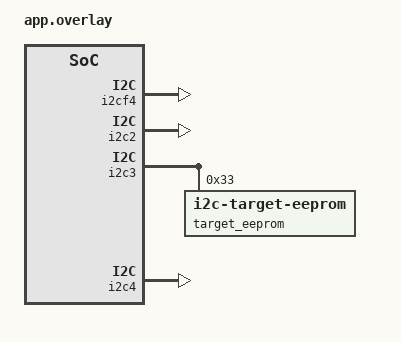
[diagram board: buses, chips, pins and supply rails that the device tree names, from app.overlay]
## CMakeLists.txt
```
# SPDX-License-Identifier: Apache-2.0

cmake_minimum_required(VERSION 3.20.0)

# ---------------------------------------------------------------------------
# pfr_tpm 模块注册（本工程私有，不得移入 common/）
#
# modules/lib/pfr_tpm 未登记进 zephyr/west.yml（实测 grep 计数 0），因此三个
# compatible（linkedsemi,i2c-filter / linkedsemi,spi-filter / linkedsemi,spid）
# 默认解析不到，DT_HAS_LINKEDSEMI_*_ENABLED 不成立 → 驱动不编入、DT 节点无 binding。
#
# 用 EXTRA_ZEPHYR_MODULES 就地注册（等价于 manifest 条目，零上游改动）：
# 模块自带 zephyr/module.yml 的 build.cmake / kconfig / settings.dts_root 全部生效，
# 含 dts binding 与 include 目录。必须在 find_package(Zephyr) 之前 set ——
# zephyr/cmake/modules/zephyr_module.cmake:39 的 zephyr_get() 在此刻读该变量。
#
# ⚠️ 只写在本工程。写进 common/common_sources.cmake 会给全部既有工程引入新的
# Kconfig 符号与 DT binding，可能影响之前已通过的测试（用户明令禁止）。
# ---------------------------------------------------------------------------
get_filename_component(PFR_TPM_WS "${CMAKE_CURRENT_SOURCE_DIR}/../../../.." ABSOLUTE)
if(EXISTS "${PFR_TPM_WS}/modules/lib/zephyr_pfr_tpm/zephyr/module.yml")
  set(EXTRA_ZEPHYR_MODULES "${PFR_TPM_WS}/modules/lib/zephyr_pfr_tpm")
elseif(EXISTS "${PFR_TPM_WS}/modules/lib/pfr_tpm/zephyr/module.yml")
  set(EXTRA_ZEPHYR_MODULES "${PFR_TPM_WS}/modules/lib/pfr_tpm")
else()
  message(FATAL_ERROR "pfr_tpm module not found under ${PFR_TPM_WS}/modules/lib")
endif()

find_package(Zephyr REQUIRED HINTS $ENV{ZEPHYR_BASE})
project(cpu1_i2cf_test)

# 项目特定源文件
target_sources(app PRIVATE
    src/main.c
    src/i2cf_test.c)

# 项目特定 include 目录
target_include_directories(app PRIVATE
    ${CMAKE_CURRENT_SOURCE_DIR}/../tests/include)

# 包含公共源文件和配置（test_results.c, ztest_glue.c, gpio_toggle.c）
include(${CMAKE_CURRENT_SOURCE_DIR}/../../../common/common_sources.cmake)

# 枚举矩阵回归用例（case_enum_matrix）：仅 CONFIG_I2CF_ENUM_MATRIX=y 时编入。
# 默认 n ⇒ 不置位时本文件不存在于构建中，case_default 逐字节不变。
if(CONFIG_I2CF_ENUM_MATRIX)
    target_sources(app PRIVATE src/i2cf_enum.c)
endif()

# 一次性诊断 shell 命令（log_flood）：仅 CONFIG_I2CF_LOG_FLOOD=y 时编入。
# 默认 n ⇒ 不置位时本文件不存在于构建中，既有 case 不受影响。
if(CONFIG_I2CF_LOG_FLOOD)
    target_sources(app PRIVATE src/log_flood.c)
endif()
```

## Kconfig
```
# SPDX-License-Identifier: Apache-2.0
#
# 本工程私有 Kconfig（放在应用目录 = 自动成为 KCONFIG_ROOT）。
#
# ⚠️ 一旦本文件存在，Zephyr 就用它当**根** —— 必须先 source 官方根，
#    否则整棵 Kconfig 树丢失（pfr_tpm 模块的 `I2C_FILTER_LINKEDSEMI` /
#    `I2C_TARGET` / `I2C_EEPROM_TARGET` 全部变未定义 → Kconfig 报错中止）。
#    实测踩过：漏这一行 ⇒ `error: Aborting due to Kconfig warnings`。

source "Kconfig.zephyr"

# 用途：给「只增不改」的可选源集提供开关 —— 新增用例由本开关保护，
#       不置位时既有构建逐字节不变（SPEC_REFERENCE §6.4.5 / qsh-test-gen §2 变体）。

config I2CF_SCAN_BURST
	bool "扫描回归用例 case_scan_burst（逐址扫描 × 三种事务类型）"
	default n
	help
	  开启后编入 i2cf_test.c 中被 `#ifdef CONFIG_I2CF_SCAN_BURST` 保护的用例
	  `i2cf::scan_burst_drain`：白名单清空 + filter on → 上游 master 逐址扫
	  0x08..0x77，对**三种事务类型**各跑一轮并断言「每址恰好一次上报」：
	    ① 1 字节写（基线对照）
	    ② 0 长度 quick command（**真正的 i2cdetect / Zephyr `i2c scan` 形态**）
	    ③ 读
	  另断言扫描本身耗时在粗上界内（实测 112 址 ≈ 16 ms）。

	  BEGIN/END 两条 marker 保留，供采集侧测**日志驱逐跨度**（打印慢的量化值）——
	  该跨度随 UART/日志后端变化，**只作观测、不作断言**（见该用例文件头说明）。

	  ★ 正式回归用例，已登记进 tests/cases.yaml（case_scan_burst）与
	    run_test.py 的 TEST_NAMES_BY_CASE。不置位时不编入，case_default 逐字节不变。

config I2CF_FILTEROFF_PROBE
	bool "一次性判别实验：无违规前置下 filter off 是否放行（H1 vs H2）"
	default n
	help
	  开启后编入 i2cf_test.c 中被 `#ifdef CONFIG_I2CF_FILTEROFF_PROBE` 保护的用例
	  `i2cf::filteroff_fresh_probe`：reset_all → switch_to_filter → filter_off
	  → 上游读片内 target 0x33（**前置无任何违规**）。

	  判读（取自 reports/2026-09-23-1/i2c_failure_triage.md §3.4）：
	    读成功 ⇒ H2（拦截后残留态，需显式清中断才恢复）
	    读失败 ⇒ H1（"关滤波器 = 不转发"成立，用例自证步的期望本身错）

	  ★ 只做判别、**不置任何 zassert 判据**（结论由 ZT_INFO 记录）。
	    一次性诊断，不登记进 regression/cases.yaml，用完可整体删除
	    （本文件 + i2cf_test.c 的该块 + tests/case_filteroff_probe/）。

config I2CF_ENUM_MATRIX
	bool "I2CF 状态枚举矩阵回归用例（白名单内外 × 读/写 × 有/无器件 × 滤波开关）"
	default n
	help
	  开启后编入 src/i2cf_enum.c 的 `ZTEST(i2cf, enum_matrix)`：跑满 9 格 × 读/写两方向，
	  每格前 cold_reset + 关全部通道（单变量 + 组间复位），逐格用成对 LOG_INF marker
	  （EM_BEGIN/EM_END）包住 3 笔事务，**逐格断言** ret / ISR 增量合计 / SMBF_NONWHITELIST
	  锁存（判据全部来自 reports/2026-10-15-3 实测，22 轮零方差）。

	  覆盖：「白名单内/外 × 读/写 × 有/无器件 × 滤波器开/关 → 反馈状态」。
	  核心结论（C2 白名单内+无器件 isr=0 ↔ C4 白名单外+无器件 isr=1）= 上报只由
	  「地址是否在白名单内」决定，与总线应答(ACK/NACK)无关、与读/写方向无关。

	  ★ 正式回归用例，已登记进 tests/cases.yaml（工程 case_enum_matrix）与
	    run_test.py 的 TEST_NAMES_BY_CASE。不置位时不编入，case_default 逐字节不变。

config I2CF_LOG_FLOOD
	bool "一次性诊断：shell 命令 log_flood 从 shell 线程灌 200 条 deferred ERR"
	default n
	help
	  开启后把 src/log_flood.c 编入：注册 shell 命令 `log_flood`，在 shell
	  线程内连续调用 200 次 LOG_ERR（deferred 模式，只入 log ring）。

	  用途：复现「日志产生期间 shell 线程无法排空自己的 log 消息队列」的
	  场景，测量 shell 日志后端队列满后的逐行到达节奏。日志会与 ztest
	  输出混流，分析只取 `flood msg` 行。

	  ★ 一次性诊断，不登记进 tests/cases.yaml；不置位时（默认）不编入该
	    文件，任何既有 case 的构建逐字节不变。

config I2CF_LOG_FLOOD_LONG
	bool "log_flood 使用长消息（约 94 字符格式化文本，长度对照用）"
	default n
	depends on I2CF_LOG_FLOOD
	help
	  L5 长度对照：把 log_flood 的日志文本加长到与 i2cf ERR 行接近
	  （"flood msg N " + 80 个 a，约 94 字符）。默认 n ⇒ 短消息版本，
	  与客户给出的纯软件判据逐字一致。
```

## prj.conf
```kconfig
# SPDX-License-Identifier: Apache-2.0
#
# i2cf_test 单核 cpu1 固件配置（SPEC_REFERENCE §6.1.7 / §6.1.8）。

# ---- log 规范（§6.1.7）：统一 LOG_INF，buf 模式异步输出 ----
CONFIG_LOG=y
CONFIG_LOG_MODE_DEFERRED=y
CONFIG_LOG_BUFFER_SIZE=16384
CONFIG_LOG_PROCESS_THREAD_SLEEP_MS=10
CONFIG_LOG_BACKEND_UART=y
CONFIG_LOG_PRINTK=n
CONFIG_SERIAL=y
CONFIG_SHELL=n

# ---- ztest（§6.2.1）：逐项输出必须打开，否则 START/PASS/FAIL 全 MISSING ----
CONFIG_ZTEST=y
CONFIG_ZTEST_ASSERT_VERBOSE=1
CONFIG_ZTEST_VERBOSE_OUTPUT=y
CONFIG_ZTEST_SUMMARY=n

# ---- libc 三件套（§10.35 / KNOWN_ISSUES #58）：缺一构建失败 ----
CONFIG_PICOLIBC=y
CONFIG_NEWLIB_LIBC=n
CONFIG_MINIMAL_LIBC=n

# ---- GPIO toggle 线程（公共层 gpio_toggle.c 依赖）----
CONFIG_GPIO=y

# ---- 被测驱动：pfr_tpm i2c filter ----
# CONFIG_I2C_FILTER_LINKEDSEMI 默认 y（depends on DT_HAS_LINKEDSEMI_I2C_FILTER_ENABLED，
# overlay 使能 **i2cf4**（被测那一个）后成立）；显式写出以固化本工程意图并 select I2C。
# ⚠️ i2cf1 / i2cf2 / i2cf3 已按拓扑**关掉**（纯主/从实例的配对滤波器，会争引脚）——
#    见 app.overlay 的说明块。
CONFIG_I2C=y
CONFIG_I2C_FILTER_LINKEDSEMI=y

# ---- 片内 I2C target（★ 2026-09-22 用户裁定：**不管外部 EEPROM 的存在**）----
# 在**从机 i2c3** 上挂一个片内从设备（overlay 的 `&i2c3 / eeprom@33`），
# 取代原先"外接 EEPROM（0x51/0x52，未经实测）"的假设 ⇒ B 组三项变成**零外部器件**。
# 驱动 init 不自注册，应用须调 `i2c_target_driver_register()`（见 src/i2cf_test.c）。
# 做法同 `modules/lib/pfr_tpm/samples/i2c_filter_loopback`（其 prj.conf 同款两行）。
CONFIG_I2C_TARGET=y
CONFIG_I2C_EEPROM_TARGET=y
```

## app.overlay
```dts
/*
 * SPDX-License-Identifier: Apache-2.0
 *
 * i2cf_test overlay（单核 cpu1 安全域）：使能 I2CF1..4 及其配对的 I2C1..4。
 *
 * ── 拓扑 ────────────────────────────────────────────────────────────────────
 *
 * 【DT 决定的（写死在生效 DT 里，无可协商）】
 *     i2cf4.i2c      = <&i2c4>                                   ← 配对控制器
 *     i2cf4.pinctrl-0 = <&i2cf4_sclo_pe02 &i2cf4_sdao_pb00
 *                        &i2cf4_scli_pe03 &i2cf4_sdai_pb02>
 *   即：i2cf4 的 **SCLO/SDAO(PE02/PB00) 与 i2c4 同引脚**（片内复用），
 *   i2cf4 的 **SCLI/SDAI(PE03/PB02) 是独立引脚**。
 *
 *   ⇒ i2c4 是滤波器**输出/下游**侧的配对控制器（旁路 master：
 *     `switch_to_master()` 让它顶替滤波器直驱该侧）。
 *   ⇒ **i2c4 不可能是被滤波器门控的上游 master**（引脚互斥：filter 模式下
 *     i2c4 的引脚归滤波器，master 模式下滤波器被旁路 —— 两个角色不可共存）。
 *
 * 【DT **不**决定的（纯外部跳线，仓库里查不到）】
 *   谁被跳线接到 SCLI/SDAI(PE03/PB02) 当**上游 master**、以及 SCLO/SDAO 侧
 *   挂的是外接 EEPROM 还是另一路被跳线过来的控制器 —— 这些只有硬件接线能定。
 *
 *   本工程把上游 master 做成 **DT alias `i2cfupstream`**（见下），
 *   取值 = 用户确认的链路「**I2C2(主机) → I2CF4(被测) → I2C3(从机)**」左端。
 *   （2026-09-22 确认；此前记的「I2C2 > I2CF4 > I2C3」措辞含糊曾被误读为
 *     三个实例都是滤波器相关，实际是"主机/被测/从机"。）
 *   ⚠️ **若实测发现上游 master 实际是别的实例，只改这一行 alias + 对应
 *      `status="okay"` / `/delete-property/ pinctrl-noinit;` 即可**，
 *      用例代码无需改动（全部通过 alias 取设备）。
 *
 * 外部条件（SPEC_REFERENCE §6.6）：
 *   - `外部: 上游 master（alias i2cfupstream = i2c2）跳线到 i2cf4.SCLI/SDAI`
 *   - `外部: i2cf4.SCLO/SDAO 侧跳线到 i2c3（从机）`
 *   - **从设备 = 片内 target**（`&i2c3 / eeprom@33`，2026-09-22 起）——
 *     用户裁定「**不管 EEPROM 的存在**，只测芯片自己的两路 I2C + I2CF」
 *     ⇒ **零外部器件**（原先"外接 EEPROM @0x51/0x52"的假设已作废）。
 *   ⚠️ 地址**不得用 0x50~0x57 等 EEPROM 惯例值** —— 用户板上确实挂了这类器件，
 *      会撞址（详见 `&i2c3` 处的说明）。
 */

#include "lsqsh_pinctrl_pfr_tpm.dtsi"

/ {
	aliases {
		i2cfilter = &i2cf4;
		/* 旁路 master：DT 固定（i2cf4.i2c），不可换 */
		i2cmaster = &i2c4;
		/* ↓ 上游 master：外部跳线决定，**唯一可换的一行**（见文件头注释） */
		i2cfupstream = &i2c2;
		/* ↓ 片内 target（从机侧）：取代"外接 EEPROM"假设，见 &i2c3 处说明 */
		i2ctargeteeprom = &target_eeprom;
	};

	chosen {
		zephyr,console = &uart1;
	};
};

/*
 * ★ 2026-09-22 拓扑确认（用户 2026-09-22 再次确认，**与上一版配置一致**）
 *
 *   链路 = **i2c2(主机) → i2cf4 输入(SCLI/SDAI) ──〔I2CF4 被测〕── i2cf4 输出
 *          (SCLO/SDAO) → i2c3(从机)**
 *   即：`i2c2` 接**输入**侧、`i2c3` 接**输出**侧、`i2cf4` 是被测滤波器。
 *
 *   ⚠️ **归因更正**：本轮早先测到"`i2c2` 的访问进不了 `i2cf4`、滤波器寄存器
 *      零流量"（`INTR_RAW=0` / `SMF_FSM=0`）—— 当时主会话曾误归因为
 *      "`i2c2` 不是上游 master"。**实际原因是接线接错**（用户已更正）。
 *      故 alias 取值 `i2cfupstream = &i2c2` 是**对的**，无需改。
 *
 *   ⚠️ **引脚冲突假设已被证伪**：GDB 实测 `IO_FUNC` 矩阵 —— `i2c2` **独占**
 *      PB04/PB01、`i2cf4` **独占** PB00/PB02/PE02/PE03(FUNC3)，**二者本来就没有
 *      冲突**。故下面把 `i2cf1/2/3` 关掉的**真实理由是"缩小使能面、让 DT 与实际
 *      参与本链路的实例一致"**，**不是**为了避免争引脚（实测关与不关结果逐字节相同）。
 *
 *   - `i2cf4` + `i2c4`：被测那一对 ⇒ 两个都留（运行时可切换）
 *   - `i2cf1/2/3` / `i2c1`：不在本链路 ⇒ 关（**仅为缩小面**）
 */
&i2cf1 {
	status = "disabled";
};

&i2cf2 {
	status = "disabled";          /* 与纯主机 i2c2 争 PB04/PB01 */
};

&i2cf3 {
	status = "disabled";          /* 与纯从机 i2c3 争 PB15/PB14 */
};

&i2cf4 {
	status = "okay";              /* ★ 被测滤波器 */
};

&i2c1 {
	status = "disabled";          /* 本链路用不到 */
};

/*
 * i2c2 ── 当前被指定为**上游 master**（跳线到 i2cf4 的 SCLI/SDAI）。
 *
 * 注意：i2c2 的 DT 配对滤波器是 i2cf2（PB04/PB01 同引脚）；本工程不使能 i2cf2，
 * 且 PB04/PB01 与 i2cf4 的引脚无重叠，故 i2c2 可以自由用作上游 master。
 *
 * 模块 dtsi 给 i2c1..i2c4 一律标了 `pinctrl-noinit`（它们是各 i2cfN 的配对
 * 控制器，引脚默认归滤波器所有）。i2c_ls 驱动只在 `!pinctrl_noinit` 时于 init
 * 挂载 pinctrl（zephyr/drivers/i2c/i2c_ls.c:901），因此这里去掉该标记，让
 * PB04/PB01 在初始化时即复用为 I2C 功能，否则上游 master 根本驱动不了总线
 * （引脚停在 GPIO/模拟态，症状会伪装成"接线错/器件不在位"）。
 */
&i2c2 {
	status = "okay";
	/delete-property/ pinctrl-noinit;
};

/*
 * i2c3 ── **纯从机**（被跳线到 i2cf4 的 SCLO/SDAO 输出侧）。
 *
 * 同 i2c2：模块 dtsi 给 i2c1..i2c4 标了 `pinctrl-noinit`（引脚默认归配对滤波器
 * 所有）；本工程把 i2c3 当**纯从机**用 ⇒ 必须删掉该标记，否则它的引脚不挂 I2C
 * 功能、根本收不到总线波形。
 *
 * ★ 片内 target（2026-09-22，用户裁定）：挂 `zephyr,i2c-target-eeprom` 作**片内
 *   从设备**，取代原先"外接 EEPROM"的假设 —— 用户明确「**不管 EEPROM 的存在**，
 *   只测芯片自己的两路 I2C + I2CF」。要点（照 `samples/i2c_filter_loopback`）：
 *   - 驱动 init **不自注册** ⇒ 应用需调 `i2c_target_driver_register()`（见 i2cf_test.c）
 *   - 需 `CONFIG_I2C_TARGET=y` + `CONFIG_I2C_EEPROM_TARGET=y`（见 prj.conf）
 *   - ⚠️ **不得把 target 挂在 master 同一实例上** —— 会自应答、绕过整个滤波器、
 *     制造假 PASS。本工程挂在**从机 i2c3**，与主机 i2c2 分离 ✓
 *   - 地址取 **0x33**（★ 2026-09-22 用户提醒后更改）：
 *     **不得用 `0x50`/`0x51`/`0x52` 这类 EEPROM 惯例地址** —— 用户板上**确实挂了**
 *     这类器件（dts 接线参考注释块记着 `i2c5`~`i2c14` 各挂 at24 @0x50），
 *     用惯例地址会与板上器件**撞址**，结果无法归因（早先 `0x50` 那次
 *     "`master_eeprom_rw` 转 PASS" 就**可能是在跟板载 EEPROM 说话**）。
 *     `0x33` 是本轮**两侧都实测空闲**的地址：i2c2 侧读它 → `-EIO`（无器件）；
 *     i2c4 旁路侧全段扫描只报 0x50 ⇒ 0x33 在输出侧同样空。
 */
&i2c3 {
	status = "okay";
	/delete-property/ pinctrl-noinit;

	target_eeprom: eeprom@33 {
		compatible = "zephyr,i2c-target-eeprom";
		reg = <0x33>;
		size = <256>;
		status = "okay";
	};
};

&i2c4 {
	status = "okay";
};

/* GPIO toggle 使能块统一走公共层（SPEC_REFERENCE §6.1.9 复用收敛） */
#include "../../../common/gpio_toggle.dtsi"
```

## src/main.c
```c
/*
 * SPDX-License-Identifier: Apache-2.0
 *
 * i2cf_test 单核测试入口（cpu1 安全域）。
 * 纯 ztest：test_main 打印角色 banner 后 zt_init + zt_run_all
 * （common/ztest_glue），不返回（同 ztest 语义）。
 */

#include <zephyr/kernel.h>
#include <zephyr/device.h>
#include <zephyr/drivers/i2c.h>
#include <zephyr/logging/log.h>

#include "ztest_glue.h"

LOG_MODULE_REGISTER(i2cf_test, LOG_LEVEL_INF);

/*
 * ★ 2026-09-22：注册**片内 I2C target**（从机 `i2c3` 上的 `eeprom@50`）。
 *
 * 为什么需要：用户裁定「**不管 EEPROM 的存在**，只测芯片自己的两路 I2C + I2CF」
 * ⇒ 用**片内从设备**取代原先"外接 EEPROM（0x51/0x52，未经实测）"的假设，
 * B 组三项随之变成**零外部器件**。
 *
 * ⚠️ 驱动 init **不自注册**（`zephyr,i2c-target-eeprom` 只建实例），必须由应用
 *    显式调 `i2c_target_driver_register()` —— 做法同
 *    `modules/lib/pfr_tpm/samples/i2c_filter_loopback/src/main.c:111,119`。
 *
 * 注册失败**不 panic、不判失败**：只打一条 ERR。理由 —— 注册的作用是"给对端造
 * 一个应答者"，失败时后续用例会以「扫不到从设备 ⇒ SKIP」的自然语义收场，
 * **不会静默变成假 PASS**（SKIP 是确定结果，不是通过）。
 */
static void i2cf_register_onchip_target(void)
{
	const struct device *tgt = DEVICE_DT_GET(DT_ALIAS(i2ctargeteeprom));

	if (!device_is_ready(tgt)) {
		LOG_ERR("%s: on-chip i2c target not ready", tgt->name);
		return;
	}
	if (i2c_target_driver_register(tgt) < 0) {
		LOG_ERR("%s: i2c_target_driver_register failed", tgt->name);
		return;
	}
	LOG_INF("on-chip i2c target registered: %s @0x%02x", tgt->name,
		(unsigned int)DT_REG_ADDR(DT_ALIAS(i2ctargeteeprom)));
}

void test_main(void)
{
	LOG_INF("[CPU1 I2CF] I2C filter test started");   /* 角色 banner（harness 依赖） */

	i2cf_register_onchip_target();   /* 必须在 zt_run_all 之前：用例依赖它作对端 */

	/* 常规回归：ztest 跑全部用例（含 CONFIG_I2CF_ENUM_MATRIX 时的 i2cf::enum_matrix）。 */
	zt_init("TGT");
	zt_run_all();
}
```

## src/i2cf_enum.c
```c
/*
 * SPDX-License-Identifier: Apache-2.0
 *
 * i2cf_enum —— I2CF 状态枚举矩阵回归用例（单核 cpu1）。
 *
 * 覆盖「白名单内/外 × 读/写 × 有/无器件 × 滤波器开/关 → 反馈状态
 *       （ret / 是否上报 / ERR 日志 / SMBF_NONWHITELIST）」的完整枚举表。
 *
 * 拓扑（DT 定，见 app.overlay）：
 *   上游 master = i2c2（alias i2cfupstream）→ i2cf4 输入 SCLI/SDAI(PE03/PB02)
 *   → 被测滤波器 i2cf4 → 输出 SCLO/SDAO(PE02/PB00) → i2c3 片内 target eeprom@33。
 *   （i2c4 = 旁路 master：switch_to_master() 时直驱 SCLO/SDAO，绕过滤波器。）
 *
 * 地址选择依据（实测，见 tests/COVERAGE.md）：
 *   0x33 = 片内 target（链路里有器件，读回真数据）；
 *   0x2A = 下游实测**无**器件（旁路 slave_addr_scan 应答清单 = 33 50；
 *          0x50 为板载实体器件，历史撞址，不用）。
 *   ⇒ 0x33/0x2A 是"有/无器件"这一维的实测依据（C8/C9 旁路对照独立复核）。
 *
 * 单变量 + 组间复位：每格前 cold_reset（**不清** WHITELIST_ADDRESS_* /
 *   SMBF_ADDRESS_ENABLE）→ **显式关全部 16 通道**（⇒ 空白名单）→ 注册回调
 *   → 交管脚 → 按格配白名单/开关。清 ISR：写 INTR_CLR=0x3 并把计数归零。
 *
 * 逐格判据（全部来自 reports/2026-10-15-3 实测，22 轮零方差）：
 *   每格读、写两方向**分别**断言 ret / ISR 增量合计 / SMBF_NONWHITELIST 锁存。
 *   核心结论 = **"上报只由白名单内外决定，与读写方向 / 器件应答无关"**：
 *     C2（白名单内 + 无器件）isr=0 与 C4（白名单外 + 无器件）isr=1 构成对照；
 *     C1（内 + 有器件）isr=0、C3（外 + 有器件）isr=1 各配"有器件"一侧。
 *   filter off 各格（C5/C6/C7）实测 ret=-5 且无上报（**实测锁定**，C7 与 C5 逐项
 *     相同 ⇒ filter off 下白名单内容无关）；C8（旁路 0x33）ret=0 + 真数据证明器件可达。
 *
 * 归因设计：每格成对 LOG_INF marker（EM_BEGIN / EM_END）包住 3 笔事务；驱动 ISR 内打的
 *   "address beyond whitelist" ERR 行与 marker 同走 deferred 日志缓冲，落在两 marker
 *   之间 ⇒ 串口可逐格数 ERR 行（人读）。断言侧不数日志，只断 ISR 计数 / ret / 锁存
 *   （日志会因 ring 溢出丢行，ISR 计数不会）。
 *
 * ★ 本文件由 CONFIG_I2CF_ENUM_MATRIX 保护（默认 n）：不置位时不编入，
 *   case_default 构建逐字节不变。
 */

#include <zephyr/kernel.h>
#include <zephyr/ztest.h>
#include <zephyr/device.h>
#include <zephyr/drivers/i2c.h>
#include <zephyr/sys/sys_io.h>
#include <zephyr/sys/util.h>
#include <zephyr/logging/log.h>
#include <errno.h>
#include <stdio.h>
#include <string.h>

#include "ztest_glue.h"
#include "i2cf_test.h"

#include <i2c_filter.h>
#include <reg_i2c_filter.h>

LOG_MODULE_REGISTER(i2cf_enum, LOG_LEVEL_INF);

/* 被测实例下标（i2cf4；见 i2cf_test.c 的 i2cf_devs[]） */
#define EM_INST            3

/* 每格重复笔数（对冲"紧接被拦之后一笔会丢"，取多数） */
#define EM_REPEAT          3
/* 每笔事务后等待 ISR 落定 + 其 ERR 日志入队的静默（ms） */
#define EM_TXN_SETTLE_MS   10

/* 片内 target 地址（app.overlay 的 &i2c3 / eeprom@33）—— 总线上**有**器件 */
#define EM_ADDR_DEV        0x33u
/* 下游**无**器件地址（实测应答清单 = 33 50；0x50 板载有实体器件，历史撞址，不用） */
#define EM_ADDR_NODEV      0x2Au

/* P0 自检写入片内 target 的已知 pattern（C1/C8 读回比对用） */
static const uint8_t em_pat[4] = { 0xA5u, 0x5Au, 0x11u, 0x22u };

/* 通路模式 */
enum em_mode {
	EM_FILTER_ON,      /* switch_to_filter + filter on（BLOCK_DISABLE=0,FILTER_DISABLE=0） */
	EM_FILTER_OFF,     /* switch_to_filter + filter off（BLOCK_DISABLE=1,FILTER_DISABLE=1） */
	EM_BYPASS_MASTER,  /* switch_to_master：i2c4 直驱输出侧，绕过滤波器（对照用） */
};

struct em_cfg {
	const char *tag;
	uint8_t     mode;
	bool        wl_on;       /* true = 把 wl_addr 授权进通道 0；false = 空白名单 */
	uint8_t     wl_addr;
	uint8_t     addr;        /* 事务目标地址 */
	int         exp_ret;     /* 期望 ret（读/写相同，实测） */
	int         exp_isr;     /* 期望 ISR 增量**合计**（= 每笔期望 × EM_REPEAT） */
	bool        exp_nw;      /* 期望 SMBF_NONWHITELIST 锁存非零 */
	bool        exp_rd_pat;  /* read 方向是否期望读回 em_pat */
	const char *note;        /* 该格语义（矩阵维度） */
};

/*
 * 枚举格清单（白名单内/外 × 器件有/无 × 滤波器开/关）。
 * "外" = 该地址不在白名单（空白名单即可）；"内" = 该地址被授权。
 * exp_* 全部来自 reports/2026-10-15-3 的实测表（22 轮零方差）。
 */
static const struct em_cfg em_cfgs[] = {
	{ "C1_wlin_devy",      EM_FILTER_ON,      true,  EM_ADDR_DEV,   EM_ADDR_DEV,   0,    0,
	  false, true,  "白名单内/有器件 → ret=0 + 真数据, isr=0" },
	{ "C2_wlin_devn",      EM_FILTER_ON,      true,  EM_ADDR_NODEV, EM_ADDR_NODEV, -EIO, 0,
	  false, false, "白名单内/无器件 → ret=-5, isr=0（靶心：不因无应答而上报）" },
	{ "C3_wlout_devy",     EM_FILTER_ON,      false, 0,             EM_ADDR_DEV,   -EIO, EM_REPEAT,
	  true,  false, "白名单外/有器件 → ret=-5, isr=1, 锁存违规地址" },
	{ "C4_wlout_devn",     EM_FILTER_ON,      false, 0,             EM_ADDR_NODEV, -EIO, EM_REPEAT,
	  true,  false, "白名单外/无器件 → ret=-5, isr=1, 锁存违规地址" },
	{ "C5_foff_devy",      EM_FILTER_OFF,     false, 0,             EM_ADDR_DEV,   -EIO, 0,
	  false, false, "filter off/有器件 → ret=-5（不转发）, isr=0" },
	{ "C6_foff_devn",      EM_FILTER_OFF,     false, 0,             EM_ADDR_NODEV, -EIO, 0,
	  false, false, "filter off/无器件 → ret=-5, isr=0" },
	{ "C7_foff_wlin_devy", EM_FILTER_OFF,     true,  EM_ADDR_DEV,   EM_ADDR_DEV,   -EIO, 0,
	  false, false, "filter off + 白名单内/有器件 → 与 C5 逐项相同（白名单内容无关）" },
	{ "C8_bypass_devy",    EM_BYPASS_MASTER,  false, 0,             EM_ADDR_DEV,   0,    0,
	  false, true,  "旁路 i2c4 直驱/有器件 → ret=0 + 真数据（证明器件可达）" },
	{ "C9_bypass_devn",    EM_BYPASS_MASTER,  false, 0,             EM_ADDR_NODEV, -EIO, 0,
	  false, false, "旁路 i2c4 直驱/无器件 → ret=-5" },
};

/* ISR 观测：回调在中断上下文执行，只计数、不打日志（SPEC_REFERENCE §6.1.2） */
static volatile uint32_t em_isr_count;

static void em_isr_cb(const struct device *dev, uint32_t idx, void *ud, void *dd)
{
	ARG_UNUSED(dev);
	ARG_UNUSED(idx);
	ARG_UNUSED(ud);
	ARG_UNUSED(dd);

	em_isr_count++;
}

static void em_arm(const struct device *dev, int inst)
{
	/* 清 pending 中断（ADDRESS|COMMAND beyond whitelist）+ 计数归零 */
	sys_write32(0x3, i2cf_reg_base(inst) + INTR_CLR);
	em_isr_count = 0;
}

/*
 * 复位到已知态 + 按格配置：
 *   ① cold_reset（= 收尾 filter off + clr_tbl + 交管脚给滤波器）
 *   ② 显式关全部 16 通道（cold_reset 不清 SMBF_ADDRESS_ENABLE）⇒ 空白名单
 *   ③ 注册 ISR 回调
 *   ④ 按 mode 配通路/开关；wl_on 时授权通道 0
 */
static void em_setup(const struct device *dev, const struct em_cfg *c)
{
	uint32_t bm[LINKEDSEMI_I2C_F_REMAP_SIZE_U32];

	(void)linkedsemi_i2c_filter_cold_reset(dev);
	for (uint8_t i = 0; i < I2CF_CHANNEL_NUM; i++) {
		(void)linkedsemi_i2c_filter_enable_channel(dev, i, false);
	}
	(void)linkedsemi_i2c_filter_register_callback(dev, 0, em_isr_cb, NULL);

	if (c->mode == EM_BYPASS_MASTER) {
		(void)linkedsemi_i2c_filter_switch_to_master(dev);
		return;
	}

	(void)linkedsemi_i2c_filter_switch_to_filter(dev);
	if (c->wl_on) {
		for (int i = 0; i < LINKEDSEMI_I2C_F_REMAP_SIZE_U32; i++) {
			bm[i] = 0xffffffffu;   /* 全命令码放行（避免掺入 command 违规） */
		}
		/* 通道 0 为保留槽（fill_bitmap 拒绝），白名单项放通道 1 */
		(void)linkedsemi_i2c_filter_fill_bitmap(dev, 1, c->wl_addr, bm);
	}
	if (c->mode == EM_FILTER_ON) {
		(void)linkedsemi_i2c_filter_en(dev, true, true, false, false);
	} else {
		(void)linkedsemi_i2c_filter_en(dev, false, false, false, false);
	}
}

/* 收尾：关滤波器 + 管脚交回滤波器 + 关全部通道（用例间零残留） */
static void em_teardown(const struct device *dev)
{
	(void)linkedsemi_i2c_filter_en(dev, false, false, false, false);
	(void)linkedsemi_i2c_filter_switch_to_filter(dev);
	for (uint8_t i = 0; i < I2CF_CHANNEL_NUM; i++) {
		(void)linkedsemi_i2c_filter_enable_channel(dev, i, false);
	}
}

/*
 * 跑一格（一个方向）：重置 → mark → 3 笔 → mark → 逐格断言。
 */
static void em_run_cell(const struct device *dev, const struct device *up,
			const struct device *down, const struct em_cfg *c, bool read_dir)
{
	const uintptr_t base = i2cf_reg_base(EM_INST);
	/* 旁路格由 i2c4（down）发波；其余格走上游 i2c2（up）经滤波器 */
	const struct device *mst = (c->mode == EM_BYPASS_MASTER) ? down : up;
	uint32_t nw_pre, nw_post, isr_tot = 0;
	int rets[EM_REPEAT];
	uint8_t rbuf[EM_REPEAT][4];

	em_setup(dev, c);
	em_arm(dev, EM_INST);
	nw_pre = sys_read32(base + SMBF_NONWHITELIST);

	LOG_INF("EM_BEGIN tag=%s dir=%s addr=%#x wl=%s mode=%s",
		c->tag, read_dir ? "RD" : "WR", c->addr,
		c->wl_on ? "in" : "out",
		c->mode == EM_FILTER_ON ? "on" :
		(c->mode == EM_FILTER_OFF ? "off" : "bypass"));

	for (int k = 0; k < EM_REPEAT; k++) {
		uint32_t before = em_isr_count;
		uint8_t w = 0xA5u;

		memset(rbuf[k], 0, sizeof(rbuf[k]));
		if (read_dir) {
			rets[k] = i2c_burst_read(mst, c->addr, 0x00, rbuf[k], sizeof(rbuf[k]));
		} else {
			rets[k] = i2c_write(mst, &w, 1, c->addr);
		}
		k_msleep(EM_TXN_SETTLE_MS);     /* 等 ISR 落定 + 其 ERR 日志入队 */
		isr_tot += em_isr_count - before;
	}

	nw_post = sys_read32(base + SMBF_NONWHITELIST);

	LOG_INF("EM_END tag=%s dir=%s ret=%d,%d,%d isr_tot=%u nw=%#x->%#x "
		"rd0=%02x%02x%02x%02x",
		c->tag, read_dir ? "RD" : "WR",
		rets[0], rets[1], rets[2], isr_tot, nw_pre, nw_post,
		rbuf[0][0], rbuf[0][1], rbuf[0][2], rbuf[0][3]);

	/* ---------- 逐格断言（判据全部实测来源） ---------- */
	for (int k = 0; k < EM_REPEAT; k++) {
		zassert_equal(rets[k], c->exp_ret,
			      "%s dir=%s 第%d笔 ret=%d，期望 %d",
			      c->tag, read_dir ? "RD" : "WR", k, rets[k], c->exp_ret);
	}
	zassert_true(isr_tot == (uint32_t)c->exp_isr,
		     "%s dir=%s ISR 增量合计=%u，期望 %d（白名单外每笔上报一次）",
		     c->tag, read_dir ? "RD" : "WR", isr_tot, c->exp_isr);
	zassert_true((nw_post != 0u) == c->exp_nw,
		     "%s dir=%s SMBF_NONWHITELIST=%#x，期望%s锁存",
		     c->tag, read_dir ? "RD" : "WR", nw_post,
		     c->exp_nw ? "" : "不");
	if (c->exp_nw) {
		/* 实测：锁存形 = 0x<addr>00（ERROR_ADDRESS=[15:8]） */
		zassert_equal((nw_post >> 8) & 0xffu, (uint32_t)c->addr,
			      "%s 锁存的 ERROR_ADDRESS 应 = 被拦地址 %#x",
			      c->tag, c->addr);
	}
	if (c->exp_rd_pat && read_dir) {
		zassert_mem_equal(rbuf[0], em_pat, sizeof(em_pat),
				  "%s read 应读回 P0 pattern（器件在位 + 通路真）", c->tag);
	}
}

/* 下游器件清单（旁路通路扫描，不经滤波器）—— 复核"0x2A 无器件 / 0x33 有器件" */
static void em_prescan(const struct device *dev, const struct device *down)
{
	uint8_t found[I2CF_SCAN_MAX];
	char list[I2CF_SCAN_MAX * 3 + 2];
	int n = 0, pos = 0;
	uint8_t v = 0;

	(void)linkedsemi_i2c_filter_switch_to_master(dev);
	k_msleep(5);
	for (uint16_t a = I2CF_SCAN_ADDR_MIN; a <= I2CF_SCAN_ADDR_MAX; a++) {
		if (i2c_read(down, &v, 1, (uint8_t)a) == 0) {
			if (n < I2CF_SCAN_MAX) {
				found[n++] = (uint8_t)a;
			}
		}
	}
	(void)linkedsemi_i2c_filter_switch_to_filter(dev);

	for (int i = 0; i < n; i++) {
		pos += snprintf(list + pos, sizeof(list) - (size_t)pos, "%02x ", found[i]);
	}
	if (pos == 0) {
		(void)snprintf(list, sizeof(list), "(none)");
	}
	LOG_INF("EM_PRESCAN downstream_count=%d addrs=%s", n, list);
}

/* P0：旁路往片内 target 0x33 写已知 pattern 并回读 —— 证"器件在位 + 数据通路真" */
static void em_p0_check(const struct device *dev, const struct device *down)
{
	uint8_t chk[4] = { 0 };
	int wr, rd;

	(void)linkedsemi_i2c_filter_switch_to_master(dev);
	k_msleep(5);
	wr = i2c_burst_write(down, EM_ADDR_DEV, 0x00, em_pat, sizeof(em_pat));
	k_msleep(20);                     /* target EEPROM 写入落定 */
	rd = i2c_burst_read(down, EM_ADDR_DEV, 0x00, chk, sizeof(chk));
	(void)linkedsemi_i2c_filter_switch_to_filter(dev);

	LOG_INF("EM_P0 addr=%#x pat=%02x%02x%02x%02x wr=%d rd=%d chk=%02x%02x%02x%02x",
		EM_ADDR_DEV, em_pat[0], em_pat[1], em_pat[2], em_pat[3], wr, rd,
		chk[0], chk[1], chk[2], chk[3]);

	/* 器件在位 + 旁路数据通路真（C1/C8 读回真数据的前提） */
	zassert_ok(wr, "P0 bypass write to %#x failed (%d)", EM_ADDR_DEV, wr);
	zassert_ok(rd, "P0 bypass read from %#x failed (%d)", EM_ADDR_DEV, rd);
	zassert_mem_equal(chk, em_pat, sizeof(em_pat),
			  "P0 回读 != 写入 pattern ⇒ 片内 target 不在位或旁路通路坏");
}

/*
 * 枚举矩阵回归用例：跑满 9 格 × 2 方向，逐格断言。
 * 核心结论 =「滤波器是否上报只由『地址是否在白名单内』决定，
 *           与总线是否应答(ACK/NACK)无关、与读/写方向无关」。
 */
ZTEST(i2cf, enum_matrix)
{
	const struct device *dev = i2cf_dev(EM_INST);                    /* i2cf4：被测 */
	const struct device *up = DEVICE_DT_GET(DT_ALIAS(i2cfupstream)); /* i2c2：上游 master */
	const struct device *down = i2cf_i2c_dev(dev);                   /* i2c4：旁路 master */

	zassert_not_null(dev, "i2cf4 device missing");
	zassert_true(device_is_ready(dev), "i2cf4 not ready");
	zassert_true(device_is_ready(up), "upstream master (i2cfupstream) not ready");
	zassert_true(device_is_ready(down), "bypass master (i2c4) not ready");

	em_prescan(dev, down);
	em_p0_check(dev, down);

	for (int i = 0; i < (int)ARRAY_SIZE(em_cfgs); i++) {
		em_run_cell(dev, up, down, &em_cfgs[i], true);    /* 读方向 */
		em_run_cell(dev, up, down, &em_cfgs[i], false);   /* 写方向 */
	}

	em_teardown(dev);

	ZT_INFO("enum_matrix", "cells=%u,dirs=2,repeat=%d",
		(unsigned)ARRAY_SIZE(em_cfgs), EM_REPEAT);

	/* 核心对照（人读）：C2（内/无器件）isr=0 ↔ C4（外/无器件）isr=1 */
	LOG_INF("EM_DONE 上报只由白名单内外决定：C1=isr0 C2=isr0(内) | C3=isr1 C4=isr1(外)");
}
```

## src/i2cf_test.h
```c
/*
 * SPDX-License-Identifier: Apache-2.0
 *
 * i2cf_test 公共定义（单核 cpu1）。
 * 覆盖矩阵见 tests/COVERAGE.md。
 */

#ifndef I2CF_TEST_H_
#define I2CF_TEST_H_

#include <zephyr/device.h>
#include <zephyr/drivers/i2c.h>
#include <stdint.h>

/*
 * 下游侧从设备**地址扫描**范围。
 *
 * 用户裁定（2026-09-17）：外接 EEPROM 优先级降为最低（"两个 I2C 回环已经够了，
 * EEPROM 不重要"），不再纠缠具体地址；改为**全地址扫描**（本身就是有价值的用例），
 * 且**不因无器件而阻塞任何用例**。
 *
 * 范围取标准 7-bit 地址空间的可分配段 —— 跳过 0x00..0x07（保留/广播）与
 * 0x78..0x7F（10-bit 前缀/保留），避免探测保留地址干扰总线。
 */
#define I2CF_SCAN_ADDR_MIN 0x08
#define I2CF_SCAN_ADDR_MAX 0x77

/* 扫描结果上限（标准段内可能应答者的上限） */
#define I2CF_SCAN_MAX 32

/* 被测实例数（i2cf1..i2cf4，overlay 全使能） */
#define I2CF_INST_NUM 4

/* 每个 i2cf 的通道数（LINKEDSEMI_I2C_F_ADDR_NUM） */
#define I2CF_CHANNEL_NUM 16

/* idx 0..3 → i2cf1..i2cf4；越界返回 NULL */
const struct device *i2cf_dev(int idx);

/* idx 0..3 → i2cfN 寄存器基址；越界返回 0 */
uintptr_t i2cf_reg_base(int idx);

#endif /* I2CF_TEST_H_ */
```
